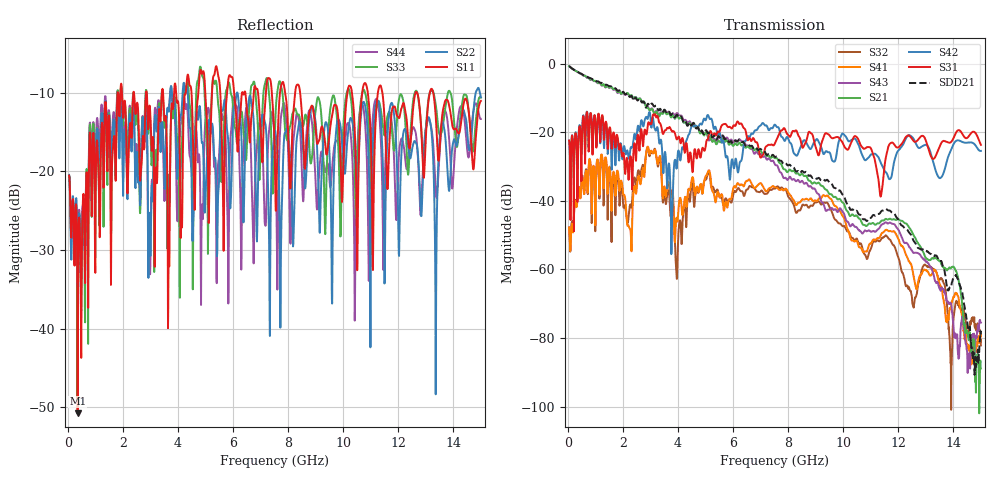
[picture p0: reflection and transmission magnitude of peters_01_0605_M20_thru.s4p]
! peters_01_0605 M20 channel thru response
#  HZ  S  RI  R  50
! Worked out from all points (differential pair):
!   1496 points, 50 MHz to 15 GHz, reference 50 ohm
!   strongest paths, dB at 50 MHz, 3.79 GHz, 7.53 GHz, 11.27 GHz, 15 GHz:
!     S31: -22.4, -19.8, -23.1, -33.2, -23.7
!     S42: -22.4, -45.9, -17.8, -27.2, -25.5
!     S21: -0.8, -15.3, -27.6, -46.6, -88.9
!     S43: -0.8, -14.7, -29.5, -48.3, -75.5
!     S41: -47.8, -36.8, -36.1, -50.8, -79.3
!     S32: -47.8, -40.6, -36.4, -51.6, -82.2
!   taken as a pair (ports 1,3 in; 2,4 out), SDD21 dB: -0.7, -14.7, -27.2, -43.8, -79.0
!   lowest |S11| = -50.7 dB at 360 MHz (marker M1), VSWR 1.01, Z = 50.3 - j0.13 ohm
!   |S11| at or under -10 dB: start of sweep to 1.818 GHz; 8.436 GHz to 10.16 GHz (1.72 GHz wide, 18.5 % of centre); 13.27 GHz to end of sweep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
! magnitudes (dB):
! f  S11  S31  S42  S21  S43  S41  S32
! 50 MHz  -20.6  -22.4  -22.4  -0.8  -0.8  -47.8  -47.8
! 360 MHz  -50.7  -37.3  -29.9  -2.4  -2.4  -38.4  -38.5
! 2.94 GHz  -13.4  -17.2  -14.6  -13.3  -13.0  -25.1  -25.9
! 3.78 GHz  -11.4  -19.7  -48.9  -15.5  -14.8  -37.0  -41.3
! 4.82 GHz  -7.1  -27.4  -17.5  -20.4  -20.2  -35.2  -35.3
! 9.41 GHz  -17.8  -20.4  -25.6  -36.9  -42.8  -38.4  -40.5
! 15 GHz  -11.1  -23.7  -25.5  -88.9  -75.5  -79.3  -82.2
